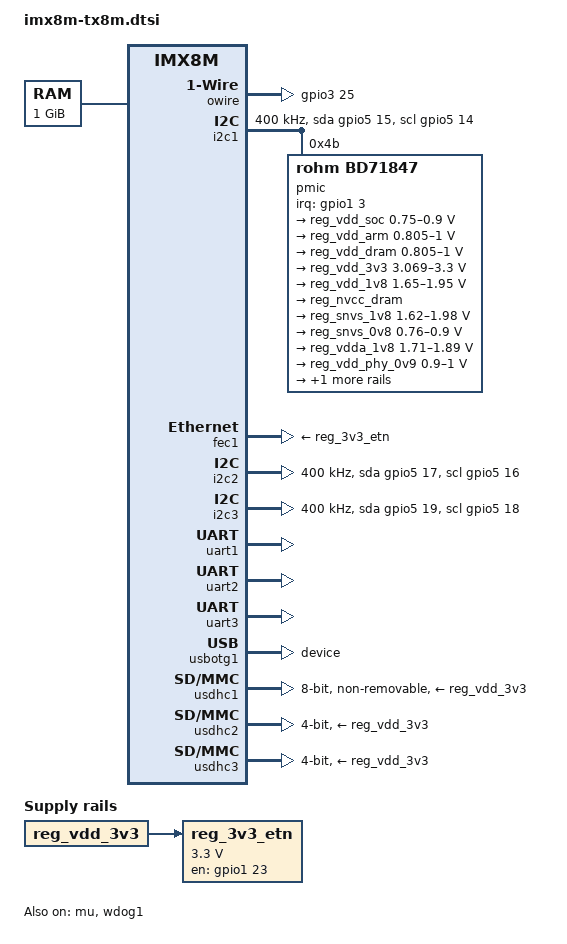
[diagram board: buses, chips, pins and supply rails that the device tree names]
// SPDX-License-Identifier: (GPL-2.0 OR MIT)
/*
 * Copyright (C) 2021 Lothar Waßmann <LW@KARO-electronics.de>
 *
 */

/ {
	aliases {
		usbotg = &usbotg1;
		i2c0 = &i2c1;
		i2c1 = &i2c2;
		i2c2 = &i2c3;
		spi0 = &ecspi2;
		spi1 = &ecspi1;
	};

	chosen {
		stdout-path = "serial0:115200";
	};

	display-subsystem {
		status = "disabled";
	};

	memory@40000000 {
		device_type = "memory";
		reg = <0x0 0x40000000 0 0x40000000>;
	};

	owire {
		compatible = "w1-gpio";
		pinctrl-names = "default";
		pinctrl-0 = <&pinctrl_owire>;
		gpios = <&gpio3 25 (GPIO_ACTIVE_HIGH | GPIO_OPEN_DRAIN)>;
		linux,open-drain;
	};

	reg_3v3_etn: regulator-3v3-etn {
		compatible = "regulator-fixed";
		regulator-name = "3v3-etn";
		regulator-min-microvolt = <3300000>;
		regulator-max-microvolt = <3300000>;
		pinctrl-names = "default";
		pinctrl-0 = <&pinctrl_etnphy_power>;
		gpio = <&gpio1 23 GPIO_ACTIVE_HIGH>;
		enable-active-high;
		startup-delay-us = <25000>;
		vin-supply = <&reg_vdd_3v3>;

		regulator-state-mem {
			regulator-off-in-suspend;
		};
	};

	thermal-zones {
		cpu-thermal {
			cooling-maps {
				map0 {
					cooling-device =
						<&A53_0 THERMAL_NO_LIMIT THERMAL_NO_LIMIT>,
						<&A53_1 THERMAL_NO_LIMIT THERMAL_NO_LIMIT>;
				};
			};
		};
	};
};

&A53_0 {
	cpu-supply = <&reg_vdd_arm>;
};

&A53_1 {
	cpu-supply = <&reg_vdd_arm>;
};

&i2c1 {
	pinctrl-names = "default", "gpio";
	pinctrl-0 = <&pinctrl_i2c1>;
	pinctrl-1 = <&pinctrl_i2c1_gpio>;
	clock-frequency = <400000>;
	scl-gpios = <&gpio5 14 (GPIO_ACTIVE_HIGH | GPIO_OPEN_DRAIN)>;
	sda-gpios = <&gpio5 15 (GPIO_ACTIVE_HIGH | GPIO_OPEN_DRAIN)>;
	status = "okay";

	pmic: pmic@4b {
		reg = <0x4b>;
		compatible = "rohm,bd71847";
		pinctrl-names = "default";
		pinctrl-0 = <&pinctrl_pmic>;
		interrupt-parent = <&gpio1>;
		interrupts = <3 IRQ_TYPE_EDGE_FALLING>;

		gpo {
			rohm,drv = <0x0C>;	/* 0b0000_1100 all gpios with CMOS output mode */
		};

		regulators {
			reg_vdd_soc: BUCK1 {
				regulator-name = "buck1";
				regulator-min-microvolt = <750000>;
				regulator-max-microvolt = <900000>;
				regulator-ramp-delay = <1250>;
				rohm,dvs-run-voltage = <820000>;
				rohm,dvs-suspend-voltage = <750000>;
				regulator-boot-on;
				regulator-always-on;

				regulator-state-mem {
					regulator-on-in-suspend;
				};
			};

			reg_vdd_arm: BUCK2 {
				regulator-name = "buck2";
				regulator-min-microvolt = <805000>;
				regulator-max-microvolt = <1000000>;
				regulator-ramp-delay = <1250>;
				rohm,dvs-run-voltage = <950000>;
				rohm,dvs-idle-voltage = <810000>;
				regulator-boot-on;
				regulator-always-on;

				regulator-state-mem {
					regulator-off-in-suspend;
				};
			};

			reg_vdd_dram: BUCK3 {
				// BUCK5 in datasheet
				regulator-name = "buck3";
				regulator-min-microvolt = <805000>;
				regulator-max-microvolt = <1000000>;
				regulator-boot-on;
				regulator-always-on;

				regulator-state-mem {
					regulator-off-in-suspend;
					//regulator-suspend-microvolt = <805000>;
				};
			};

			reg_vdd_3v3: BUCK4 {
				// BUCK6 in datasheet
				regulator-name = "buck4";
				regulator-min-microvolt = <3069000>;
				regulator-max-microvolt = <3300000>;
				regulator-boot-on;
				regulator-always-on;

				regulator-state-mem {
					regulator-on-in-suspend;
				};
			};

			reg_vdd_1v8: BUCK5 {
				// BUCK7 in datasheet
				/* must be named 'buck5' as supply for LDO6 */
				regulator-name = "buck5";
				regulator-min-microvolt = <1650000>;
				regulator-max-microvolt = <1950000>;
				regulator-boot-on;
				regulator-always-on;

				regulator-state-mem {
					regulator-on-in-suspend;
				};
			};

			reg_nvcc_dram: BUCK6 {
				// BUCK8 in datasheet
				regulator-name = "buck6";
				regulator-min-microvolt = <(1350000 - 6700)>;
				regulator-max-microvolt = <(1350000 + 10000)>;
				rohm,fb-pull-up-microvolt = <0>;
				rohm,feedback-pull-up-r1-ohms = <2200>;
				rohm,feedback-pull-up-r2-ohms = <499>;
				regulator-boot-on;
				regulator-always-on;

				regulator-state-mem {
					regulator-on-in-suspend;
				};
			};

			reg_snvs_1v8: LDO1 {
				regulator-name = "ldo1";
				regulator-min-microvolt = <1620000>;
				regulator-max-microvolt = <1980000>;
				regulator-boot-on;
				regulator-always-on;

				regulator-state-mem {
					regulator-on-in-suspend;
				};
			};

			reg_snvs_0v8: LDO2 {
				regulator-name = "ldo2";
				regulator-min-microvolt = <760000>;
				regulator-max-microvolt = <900000>;
				regulator-boot-on;
				regulator-always-on;

				regulator-state-mem {
					regulator-on-in-suspend;
				};
			};

			reg_vdda_1v8: LDO3 {
				regulator-name = "ldo3";
				regulator-min-microvolt = <1710000>;
				regulator-max-microvolt = <1890000>;
				regulator-boot-on;
				regulator-always-on;

				regulator-state-mem {
					regulator-off-in-suspend;
				};
			};

			reg_vdd_phy_0v9: LDO4 {
				regulator-name = "ldo4";
				regulator-min-microvolt = <900000>;
				regulator-max-microvolt = <1000000>;
				regulator-boot-on;
				regulator-always-on;

				regulator-state-mem {
					regulator-off-in-suspend;
				};
			};

			reg_vdd_phy_1v2: LDO6 {
				regulator-name = "ldo6";
				regulator-min-microvolt = <1140000>;
				regulator-max-microvolt = <1260000>;
				regulator-boot-on;
				regulator-always-on;

				regulator-state-mem {
					regulator-off-in-suspend;
				};
			};
		};
	};
};

&fec1 {
	phy-supply = <&reg_3v3_etn>;
};

&i2c2 {
	clock-frequency = <400000>;
	pinctrl-names = "default";
	pinctrl-0 = <&pinctrl_i2c2>;
	scl-gpios = <&gpio5 16 (GPIO_ACTIVE_HIGH | GPIO_OPEN_DRAIN)>;
	sda-gpios = <&gpio5 17 (GPIO_ACTIVE_HIGH | GPIO_OPEN_DRAIN)>;
	status = "okay";
};

&i2c3 {
	clock-frequency = <400000>;
	pinctrl-names = "default";
	pinctrl-0 = <&pinctrl_i2c3>;
	scl-gpios = <&gpio5 18 (GPIO_ACTIVE_HIGH | GPIO_OPEN_DRAIN)>;
	sda-gpios = <&gpio5 19 (GPIO_ACTIVE_HIGH | GPIO_OPEN_DRAIN)>;
	status = "okay";
};

&mu {
	status = "okay";
};

&uart1 { /* console */
	pinctrl-names = "default";
	pinctrl-0 = <&pinctrl_uart1 &pinctrl_uart1_rtscts>;
	uart-has-rtscts;
	status = "okay";
};

&uart2 {
	pinctrl-names = "default";
	pinctrl-0 = <&pinctrl_uart2 &pinctrl_uart2_rtscts>;
	dmas = <&sdma1 24 4 0>, <&sdma1 25 4 0>;
	dma-names = "rx", "tx";
	uart-has-rtscts;
	status = "okay";
};

&uart3 {
	pinctrl-names = "default";
	pinctrl-0 = <&pinctrl_uart3 &pinctrl_uart3_rtscts>;
	uart-has-rtscts;
	status = "okay";
};

&usbotg1 {
	dr_mode = "device";
	status = "okay";
};

&usdhc1 { /* eMMC */
	pinctrl-names = "default", "state_100mhz", "state_200mhz";
	pinctrl-0 = <&pinctrl_usdhc1>;
	pinctrl-1 = <&pinctrl_usdhc1_100mhz>;
	pinctrl-2 = <&pinctrl_usdhc1_200mhz>;
	bus-width = <8>;
	vmmc-supply = <&reg_vdd_3v3>;
	vqmmc-supply = <&reg_vdd_1v8>;
	non-removable;
	status = "okay";
};

&usdhc2 {
	pinctrl-names = "default";
	pinctrl-0 = <&pinctrl_usdhc2>;
	bus-width = <4>;
	vmmc-supply = <&reg_vdd_3v3>;
	vqmmc-supply = <&reg_vdd_3v3>;
	voltage-ranges = <3300 3300>;
	no-1-8-v;
	fsl,wp-controller;
	status = "okay";
};

&usdhc3 {
	pinctrl-names = "default";
	pinctrl-0 = <&pinctrl_usdhc3>;
	bus-width = <4>;
	vmmc-supply = <&reg_vdd_3v3>;
	vqmmc-supply = <&reg_vdd_3v3>;
	voltage-ranges = <3300 3300>;
	no-1-8-v;
	fsl,wp-controller;
};

&wdog1 {
	status = "okay";
};
